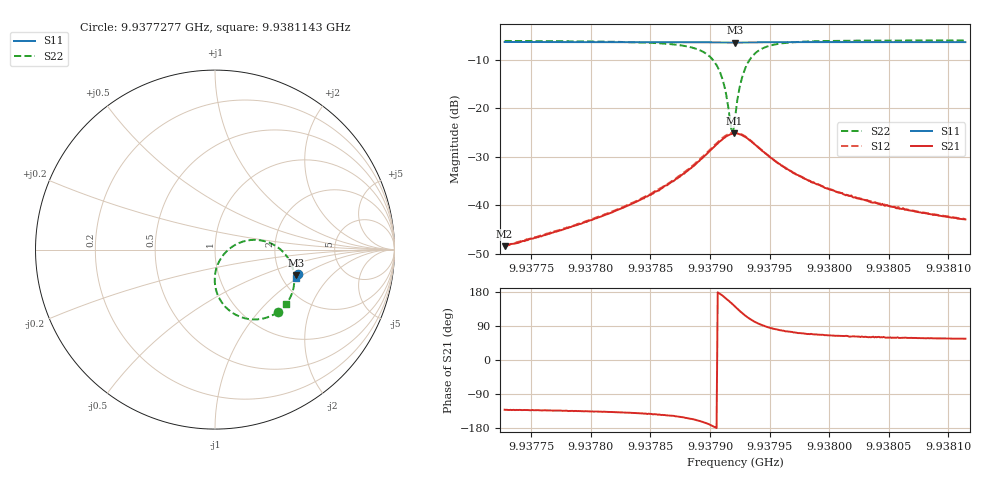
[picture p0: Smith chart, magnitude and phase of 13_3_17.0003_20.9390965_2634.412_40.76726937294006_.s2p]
#  HZ  S  RI  R  50.00
! Rohde & Schwarz Vector Network Analyzer
! Rohde-Schwarz,ZNB20-2Port,1311601062101988,3.16
! Created: UTC 3/20/2024, 10:52:40 PM
! freq[Hz]  re:S11  im:S11  re:S21  im:S21  re:S12  im:S12  re:S22  im:S22
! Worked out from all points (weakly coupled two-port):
!   401 points, 9.9377277 GHz to 9.9381143 GHz, reference 50 ohm
!   highest |S21| = -25.20 dB at 9.93792 GHz (marker M1); lowest = -48.5 dB at 9.9377277 GHz (marker M2)
!   lowest |S11| = -6.5 dB at 9.937921 GHz (marker M3), VSWR 2.80, Z = 121 - j44.5 ohm
!   |S11| at or under -10 dB: nowhere
!   |S22| runs from -25.1 to -6.0 dB; largest |S21 - S12| = 0.0027
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9.93772771e9  0.4626 -0.1337  -0.00249 -0.00284  -0.00258 -0.00285  0.3517 -0.3463
9.93779247e9  0.4606 -0.1381  -0.0046 -0.00455  -0.00472 -0.00461  0.3297 -0.3605
9.93782629e9  0.4598 -0.1407  -0.00696 -0.00621  -0.00719 -0.0062  0.3067 -0.3717
9.93785722e9  0.4586 -0.1431  -0.0114 -0.00836  -0.0118 -0.00854  0.2651 -0.3846
9.93788622e9  0.4563 -0.1455  -0.0232 -0.01  -0.024 -0.00987  0.1673 -0.3828
9.93790168e9  0.4542 -0.146  -0.0378 -0.0044  -0.039 -0.00383  0.0571 -0.3183
9.93790555e9  0.4534 -0.1458  -0.0423 -0.000264  -0.0435 0.000868  0.0269 -0.2765
9.93790941e9  0.4527 -0.1454  -0.0461 0.00602  -0.0475 0.0077  0.00422 -0.2182
9.93791328e9  0.4522 -0.1448  -0.0485 0.0148  -0.0494 0.0167  -0.000555 -0.145
9.93791715e9  0.452 -0.1438  -0.0476 0.0251  -0.0479 0.0273  0.0235 -0.0652
9.93791908e9  0.452 -0.1433  -0.0457 0.0299  -0.0457 0.0324  0.0479 -0.028
9.93792005e9  0.4522 -0.1429  -0.0444 0.0323  -0.0441 0.0347  0.0632 -0.0108
9.93792101e9  0.452 -0.1428  -0.0428 0.0343  -0.0422 0.0369  0.0795 0.004
9.93792488e9  0.4529 -0.142  -0.0344 0.0414  -0.0334 0.0435  0.1573 0.0452
9.93792778e9  0.4538 -0.1417  -0.0275 0.0442  -0.026 0.046  0.217 0.0544
9.93793164e9  0.4545 -0.1417  -0.0184 0.0449  -0.0169 0.0461  0.2884 0.0436
9.93793744e9  0.4557 -0.1422  -0.00807 0.0416  -0.00669 0.0423  0.3635 0.00205
9.93795387e9  0.457 -0.1445  0.00401 0.0287  0.00469 0.0287  0.4365 -0.1183
9.93798577e9  0.4569 -0.148  0.00636 0.016  0.00681 0.0158  0.4354 -0.2228
9.9380138e9  0.4561 -0.1503  0.00562 0.0113  0.00608 0.0113  0.4228 -0.2588
9.93805053e9  0.4552 -0.1531  0.00506 0.0084  0.00507 0.00833  0.4102 -0.283
9.93811432e9  0.4535 -0.1575  0.00396 0.00592  0.00412 0.00589  0.396 -0.3042
